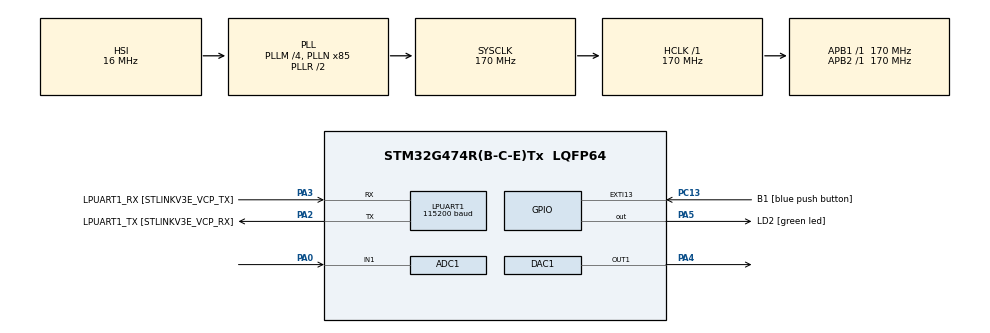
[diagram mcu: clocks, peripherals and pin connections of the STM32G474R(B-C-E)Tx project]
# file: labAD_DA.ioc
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ADC1.Channel-0\#ChannelRegularConversion=ADC_CHANNEL_1
ADC1.NbrOfConversionFlag=1
ADC1.OffsetNumber-0\#ChannelRegularConversion=ADC_OFFSET_NONE
ADC1.Rank-0\#ChannelRegularConversion=1
ADC1.Resolution=ADC_RESOLUTION_10B
ADC1.SamplingTime-0\#ChannelRegularConversion=ADC_SAMPLETIME_2CYCLES_5
ADC1.master=1
LPUART1.BaudRate=115200
LPUART1.WordLength=UART_WORDLENGTH_8B
Mcu.Family=STM32G4
Mcu.Name=STM32G474R(B-C-E)Tx
Mcu.Package=LQFP64
NVIC.EXTI15_10_IRQn=true\:0\:0\:false\:false\:true\:true\:true\:true
NVIC.PriorityGroup=NVIC_PRIORITYGROUP_4
PA0.Mode=IN1-Single-Ended
PA0.Signal=ADC1_IN1
PA13.GPIO_Label=T_SWDIO
PA13.Mode=Serial_Wire
PA13.Signal=SYS_JTMS-SWDIO
PA14.GPIO_Label=T_SWCLK
PA14.Mode=Serial_Wire
PA14.Signal=SYS_JTCK-SWCLK
PA2.GPIO_Label=LPUART1_TX [STLINKV3E_VCP_RX]
PA2.Mode=Asynchronous
PA2.Signal=LPUART1_TX
PA3.GPIO_Label=LPUART1_RX [STLINKV3E_VCP_TX]
PA3.Mode=Asynchronous
PA3.Signal=LPUART1_RX
PA4.Signal=COMP_DAC11_group
PA5.GPIO_Label=LD2 [green led]
PA5.Signal=GPIO_Output
PB3.GPIO_Label=T_SWO
PB3.Signal=SYS_JTDO-SWO
PC13.GPIO_Label=B1 [blue push button]
PC13.Signal=GPXTI13
PC14-OSC32_IN.Mode=LSE-External-Oscillator
PC14-OSC32_IN.Signal=RCC_OSC32_IN
PC15-OSC32_OUT.Mode=LSE-External-Oscillator
PC15-OSC32_OUT.Signal=RCC_OSC32_OUT
PF0-OSC_IN.Mode=HSE-External-Oscillator
PF0-OSC_IN.Signal=RCC_OSC_IN
PF1-OSC_OUT.Mode=HSE-External-Oscillator
PF1-OSC_OUT.Signal=RCC_OSC_OUT
ProjectManager.HeapSize=0x200
ProjectManager.StackSize=0x400
ProjectManager.TargetToolchain=STM32CubeIDE
RCC.ADC12Freq_Value=170000000
RCC.ADC345Freq_Value=170000000
RCC.AHBFreq_Value=170000000
RCC.APB1Freq_Value=170000000
RCC.APB1TimFreq_Value=170000000
RCC.APB2Freq_Value=170000000
RCC.APB2TimFreq_Value=170000000
RCC.CortexFreq_Value=170000000
RCC.EXTERNAL_CLOCK_VALUE=12288000
RCC.HCLKFreq_Value=170000000
RCC.HSE_VALUE=24000000
RCC.HSI48_VALUE=48000000
RCC.HSI_VALUE=16000000
RCC.PLLM=RCC_PLLM_DIV4
RCC.PLLN=85
RCC.RTCClockSelection=RCC_RTCCLKSOURCE_LSE
RCC.SYSCLKFreq_VALUE=170000000
RCC.SYSCLKSource=RCC_SYSCLKSOURCE_PLLCLK
RCC.USBFreq_Value=170000000
RCC.VCOOutputFreq_Value=340000000
SH.COMP_DAC11_group.0=DAC1_OUT1,DAC_OUT1
VP_SYS_VS_DBSignals.Mode=DisableDeadBatterySignals
board=NUCLEO-G474RE

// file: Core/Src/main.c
/* USER CODE BEGIN Header */
/**
  ******************************************************************************
  * @file           : main.c
  * @brief          : Main program body
  ******************************************************************************
  * @attention
  *
  * Copyright (c) 2023 STMicroelectronics.
  * All rights reserved.
  *
  * This software is licensed under terms that can be found in the LICENSE file
  * in the root directory of this software component.
  * If no LICENSE file comes with this software, it is provided AS-IS.
  *
  ******************************************************************************
  */
/* USER CODE END Header */
#include "main.h"

ADC_HandleTypeDef hadc1;

DAC_HandleTypeDef hdac1;

UART_HandleTypeDef hlpuart1;

/* USER CODE BEGIN PV */
uint16_t DAC_Output_Raw = 0;
float DAC_Output_mV = 0;
float DAC_u16tof = 0;
float DAC_calf = 0;
int DAC_F2I = 0;

float Pre_DAC_Raw = 0;
float Pre_DAC_mV = 0;
float u16tof_DAC = 0;
int ftoi_DAC = 0;

float ADC_mV = 0;
float ADC_u16tof = 0;

struct _ADC_tag
{
ADC_ChannelConfTypeDef Config;
uint16_t data;
};
struct _ADC_tag ADC1_Channel =
	{
	.Config.Channel = ADC_CHANNEL_1,
	.Config.Rank = ADC_REGULAR_RANK_1,
	.Config.SamplingTime = ADC_SAMPLETIME_640CYCLES_5,
	.Config.SingleDiff = ADC_SINGLE_ENDED,
	.Config.OffsetNumber = ADC_OFFSET_NONE,
	.Config.Offset = 0,
	.data = 0
	};
/* USER CODE END PV */

void SystemClock_Config(void);
static void MX_GPIO_Init(void);
static void MX_LPUART1_UART_Init(void);
static void MX_ADC1_Init(void);
static void MX_DAC1_Init(void);
/* USER CODE BEGIN PFP */
void ADC_Read_blocking();
void DAC_Update();

/* USER CODE END PFP */

int main(void)
{

  /* MCU Configuration--------------------------------------------------------*/

  /* Reset of all peripherals, Initializes the Flash interface and the Systick. */
  HAL_Init();

  /* Configure the system clock */
  SystemClock_Config();

  /* Initialize all configured peripherals */
  MX_GPIO_Init();
  MX_LPUART1_UART_Init();
  MX_ADC1_Init();
  MX_DAC1_Init();
  /* USER CODE BEGIN 2 */
  HAL_ADCEx_Calibration_Start(&hadc1, ADC_SINGLE_ENDED);
  HAL_DAC_SetValue(&hdac1, DAC_CHANNEL_1, DAC_ALIGN_12B_R, 2048);
  HAL_DAC_Start(&hdac1, DAC_CHANNEL_1);
  /* USER CODE END 2 */

  /* Infinite loop */
  while (1)
  {

    /* USER CODE BEGIN 3 */
	ADC_Read_blocking();
	DAC_Update();
  }
  /* USER CODE END 3 */
}

void SystemClock_Config(void)
{
  RCC_OscInitTypeDef RCC_OscInitStruct = {0};
  RCC_ClkInitTypeDef RCC_ClkInitStruct = {0};

  /** Configure the main internal regulator output voltage
  */
  HAL_PWREx_ControlVoltageScaling(PWR_REGULATOR_VOLTAGE_SCALE1_BOOST);

  /** Initializes the RCC Oscillators according to the specified parameters
  * in the RCC_OscInitTypeDef structure.
  */
  RCC_OscInitStruct.OscillatorType = RCC_OSCILLATORTYPE_HSI;
  RCC_OscInitStruct.HSIState = RCC_HSI_ON;
  RCC_OscInitStruct.HSICalibrationValue = RCC_HSICALIBRATION_DEFAULT;
  RCC_OscInitStruct.PLL.PLLState = RCC_PLL_ON;
  RCC_OscInitStruct.PLL.PLLSource = RCC_PLLSOURCE_HSI;
  RCC_OscInitStruct.PLL.PLLM = RCC_PLLM_DIV4;
  RCC_OscInitStruct.PLL.PLLN = 85;
  RCC_OscInitStruct.PLL.PLLP = RCC_PLLP_DIV2;
  RCC_OscInitStruct.PLL.PLLQ = RCC_PLLQ_DIV2;
  RCC_OscInitStruct.PLL.PLLR = RCC_PLLR_DIV2;
  if (HAL_RCC_OscConfig(&RCC_OscInitStruct) != HAL_OK)
  {
    Error_Handler();
  }

  /** Initializes the CPU, AHB and APB buses clocks
  */
  RCC_ClkInitStruct.ClockType = RCC_CLOCKTYPE_HCLK|RCC_CLOCKTYPE_SYSCLK
                              |RCC_CLOCKTYPE_PCLK1|RCC_CLOCKTYPE_PCLK2;
  RCC_ClkInitStruct.SYSCLKSource = RCC_SYSCLKSOURCE_PLLCLK;
  RCC_ClkInitStruct.AHBCLKDivider = RCC_SYSCLK_DIV1;
  RCC_ClkInitStruct.APB1CLKDivider = RCC_HCLK_DIV1;
  RCC_ClkInitStruct.APB2CLKDivider = RCC_HCLK_DIV1;

  if (HAL_RCC_ClockConfig(&RCC_ClkInitStruct, FLASH_LATENCY_4) != HAL_OK)
  {
    Error_Handler();
  }
}

static void MX_ADC1_Init(void)
{

  ADC_MultiModeTypeDef multimode = {0};
  ADC_ChannelConfTypeDef sConfig = {0};

  /** Common config
  */
  hadc1.Instance = ADC1;
  hadc1.Init.ClockPrescaler = ADC_CLOCK_SYNC_PCLK_DIV4;
  hadc1.Init.Resolution = ADC_RESOLUTION_10B;
  hadc1.Init.DataAlign = ADC_DATAALIGN_RIGHT;
  hadc1.Init.GainCompensation = 0;
  hadc1.Init.ScanConvMode = ADC_SCAN_DISABLE;
  hadc1.Init.EOCSelection = ADC_EOC_SINGLE_CONV;
  hadc1.Init.LowPowerAutoWait = DISABLE;
  hadc1.Init.ContinuousConvMode = DISABLE;
  hadc1.Init.NbrOfConversion = 1;
  hadc1.Init.DiscontinuousConvMode = DISABLE;
  hadc1.Init.ExternalTrigConv = ADC_SOFTWARE_START;
  hadc1.Init.ExternalTrigConvEdge = ADC_EXTERNALTRIGCONVEDGE_NONE;
  hadc1.Init.DMAContinuousRequests = DISABLE;
  hadc1.Init.Overrun = ADC_OVR_DATA_PRESERVED;
  hadc1.Init.OversamplingMode = DISABLE;
  if (HAL_ADC_Init(&hadc1) != HAL_OK)
  {
    Error_Handler();
  }

  /** Configure the ADC multi-mode
  */
  multimode.Mode = ADC_MODE_INDEPENDENT;
  if (HAL_ADCEx_MultiModeConfigChannel(&hadc1, &multimode) != HAL_OK)
  {
    Error_Handler();
  }

  /** Configure Regular Channel
  */
  sConfig.Channel = ADC_CHANNEL_1;
  sConfig.Rank = ADC_REGULAR_RANK_1;
  sConfig.SamplingTime = ADC_SAMPLETIME_2CYCLES_5;
  sConfig.SingleDiff = ADC_SINGLE_ENDED;
  sConfig.OffsetNumber = ADC_OFFSET_NONE;
  sConfig.Offset = 0;
  if (HAL_ADC_ConfigChannel(&hadc1, &sConfig) != HAL_OK)
  {
    Error_Handler();
  }

}

static void MX_DAC1_Init(void)
{

  DAC_ChannelConfTypeDef sConfig = {0};

  /** DAC Initialization
  */
  hdac1.Instance = DAC1;
  if (HAL_DAC_Init(&hdac1) != HAL_OK)
  {
    Error_Handler();
  }

  /** DAC channel OUT1 config
  */
  sConfig.DAC_HighFrequency = DAC_HIGH_FREQUENCY_INTERFACE_MODE_AUTOMATIC;
  sConfig.DAC_DMADoubleDataMode = DISABLE;
  sConfig.DAC_SignedFormat = DISABLE;
  sConfig.DAC_SampleAndHold = DAC_SAMPLEANDHOLD_DISABLE;
  sConfig.DAC_Trigger = DAC_TRIGGER_NONE;
  sConfig.DAC_Trigger2 = DAC_TRIGGER_NONE;
  sConfig.DAC_OutputBuffer = DAC_OUTPUTBUFFER_ENABLE;
  sConfig.DAC_ConnectOnChipPeripheral = DAC_CHIPCONNECT_EXTERNAL;
  sConfig.DAC_UserTrimming = DAC_TRIMMING_FACTORY;
  if (HAL_DAC_ConfigChannel(&hdac1, &sConfig, DAC_CHANNEL_1) != HAL_OK)
  {
    Error_Handler();
  }

}

static void MX_LPUART1_UART_Init(void)
{

  hlpuart1.Instance = LPUART1;
  hlpuart1.Init.BaudRate = 115200;
  hlpuart1.Init.WordLength = UART_WORDLENGTH_8B;
  hlpuart1.Init.StopBits = UART_STOPBITS_1;
  hlpuart1.Init.Parity = UART_PARITY_NONE;
  hlpuart1.Init.Mode = UART_MODE_TX_RX;
  hlpuart1.Init.HwFlowCtl = UART_HWCONTROL_NONE;
  hlpuart1.Init.OneBitSampling = UART_ONE_BIT_SAMPLE_DISABLE;
  hlpuart1.Init.ClockPrescaler = UART_PRESCALER_DIV1;
  hlpuart1.AdvancedInit.AdvFeatureInit = UART_ADVFEATURE_NO_INIT;
  if (HAL_UART_Init(&hlpuart1) != HAL_OK)
  {
    Error_Handler();
  }
  if (HAL_UARTEx_SetTxFifoThreshold(&hlpuart1, UART_TXFIFO_THRESHOLD_1_8) != HAL_OK)
  {
    Error_Handler();
  }
  if (HAL_UARTEx_SetRxFifoThreshold(&hlpuart1, UART_RXFIFO_THRESHOLD_1_8) != HAL_OK)
  {
    Error_Handler();
  }
  if (HAL_UARTEx_DisableFifoMode(&hlpuart1) != HAL_OK)
  {
    Error_Handler();
  }

}

static void MX_GPIO_Init(void)
{
  GPIO_InitTypeDef GPIO_InitStruct = {0};

  /* GPIO Ports Clock Enable */
  __HAL_RCC_GPIOC_CLK_ENABLE();
  __HAL_RCC_GPIOF_CLK_ENABLE();
  __HAL_RCC_GPIOA_CLK_ENABLE();
  __HAL_RCC_GPIOB_CLK_ENABLE();

  /*Configure GPIO pin Output Level */
  HAL_GPIO_WritePin(LD2_GPIO_Port, LD2_Pin, GPIO_PIN_RESET);

  /*Configure GPIO pin : B1_Pin */
  GPIO_InitStruct.Pin = B1_Pin;
  GPIO_InitStruct.Mode = GPIO_MODE_IT_RISING;
  GPIO_InitStruct.Pull = GPIO_NOPULL;
  HAL_GPIO_Init(B1_GPIO_Port, &GPIO_InitStruct);

  /*Configure GPIO pin : LD2_Pin */
  GPIO_InitStruct.Pin = LD2_Pin;
  GPIO_InitStruct.Mode = GPIO_MODE_OUTPUT_PP;
  GPIO_InitStruct.Pull = GPIO_NOPULL;
  GPIO_InitStruct.Speed = GPIO_SPEED_FREQ_LOW;
  HAL_GPIO_Init(LD2_GPIO_Port, &GPIO_InitStruct);

  /* EXTI interrupt init*/
  HAL_NVIC_SetPriority(EXTI15_10_IRQn, 0, 0);
  HAL_NVIC_EnableIRQ(EXTI15_10_IRQn);

}

/* USER CODE BEGIN 4 */
void ADC_Read_blocking()
{
	static uint32_t TimeStamp = 0;
	if( HAL_GetTick()<TimeStamp) return;
	TimeStamp = HAL_GetTick()+500;

	HAL_ADC_ConfigChannel(&hadc1, &ADC1_Channel.Config);
	HAL_ADC_Start(&hadc1);
	HAL_ADC_PollForConversion(&hadc1, 100);
	ADC1_Channel.data = HAL_ADC_GetValue(&hadc1);
	HAL_ADC_Stop(&hadc1);

	ADC_u16tof = ADC1_Channel.data;
	ADC_mV = ADC_u16tof * 3.2;

	DAC_u16tof = ADC1_Channel.data;
	DAC_calf = (4095*(DAC_u16tof/1023));
	DAC_F2I = DAC_calf;

}

void DAC_Update()
{
	static uint32_t timeStamp =0;
	if(HAL_GetTick()>timeStamp)
	{
		timeStamp = HAL_GetTick()+750;

		if (DAC_Output_Raw != Pre_DAC_Raw)
		{
			u16tof_DAC = DAC_Output_Raw;
			DAC_Output_mV = 3.3*(u16tof_DAC/4095)*1000;
		}
		else if (DAC_Output_mV != Pre_DAC_mV)
		{
			ftoi_DAC = 4095*(DAC_Output_mV/3300);
			DAC_Output_Raw = ftoi_DAC;
		}
		Pre_DAC_Raw = DAC_Output_Raw;
		Pre_DAC_mV = DAC_Output_mV;

		HAL_DAC_SetValue(&hdac1, DAC_CHANNEL_1, DAC_ALIGN_12B_R, DAC_Output_Raw);
	}
}

void HAL_GPIO_EXTI_Callback(uint16_t GPIO_Pin)
{

	if(GPIO_Pin == GPIO_PIN_13)
	{
		DAC_Output_Raw = DAC_F2I;
		DAC_Output_mV = DAC_F2I * 0.8 ;
		HAL_DAC_SetValue(&hdac1, DAC_CHANNEL_1, DAC_ALIGN_12B_R, DAC_Output_Raw);
		Pre_DAC_Raw = DAC_Output_Raw;
		Pre_DAC_mV = DAC_Output_mV;
	}
}

/* USER CODE END 4 */

void Error_Handler(void)
{
  __disable_irq();
  while (1)
  {
  }
}
